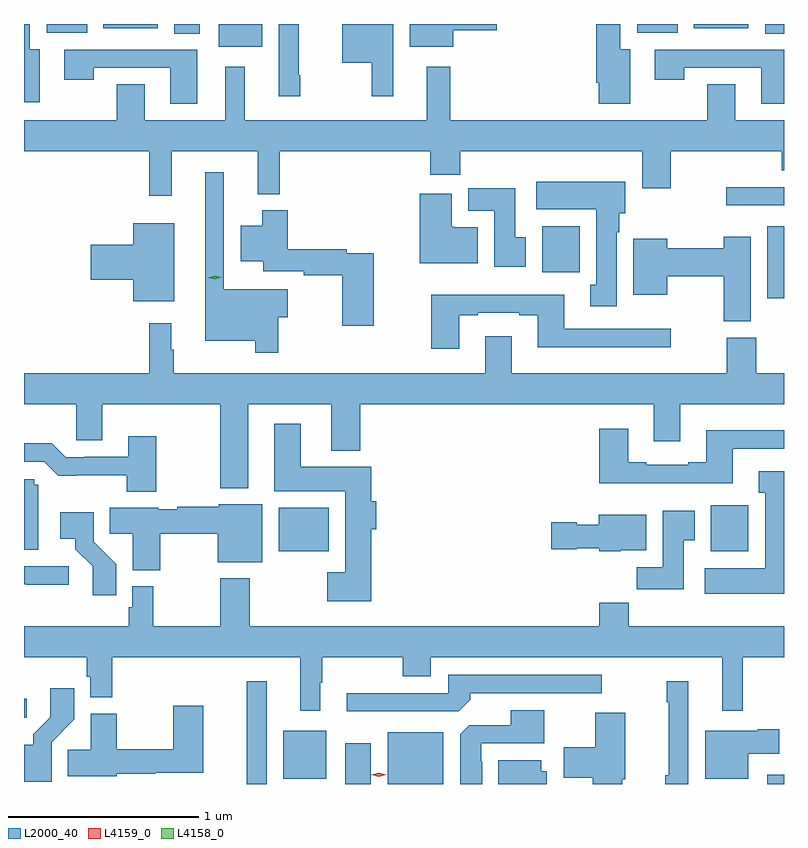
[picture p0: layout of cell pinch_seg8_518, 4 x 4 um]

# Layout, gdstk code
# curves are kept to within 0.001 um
import gdstk
lib = gdstk.Library(unit=1e-6, precision=1e-09)
def R(c, l, rs):  # rectangles x0, y0, x1, y1
    for r in rs: c.add(gdstk.rectangle(r[:2], r[2:], *l))
def P(c, l, *ps):  # polygons
    for p in ps: c.add(gdstk.Polygon(p, *l))
L2000_40 = (2000, 40)
L4158_0 = (4158, 0)
L4159_0 = (4159, 0)

pinch_seg8_518 = lib.new_cell('pinch_seg8_518')
R(pinch_seg8_518, L2000_40, [(125.549,1106.51,125.653,1107.052), (126.068,1106.51,126.202,1106.725), (126.29,1106.51,126.583,1106.782), (128.288,1106.51,128.376,1106.56), (125.741,1106.537,125.968,1106.791), (124.376,1106.859,124.39,1106.958), (125.717,1107.734,125.98,1107.964), (127.991,1107.734,128.188,1107.976), (128.288,1109.066,128.376,1109.446), (127.103,1109.204,127.3,1109.446), (128.073,1109.556,128.376,1109.652), (125.402,1110.389,125.629,1110.51), (125.168,1110.46,125.302,1110.51), (128.276,1110.46,128.376,1110.51), (124.496,1110.464,124.708,1110.51), (127.604,1110.464,127.816,1110.51), (124.793,1110.488,125.08,1110.51), (127.901,1110.488,128.188,1110.51)])
P(pinch_seg8_518, L2000_40, [(126.319,1110.51),(126.05,1110.51),(126.05,1110.305),(126.205,1110.305),(126.205,1110.129),(126.319,1110.129)],
  [(125.831,1110.241),(125.821,1110.241),(125.821,1110.51),(125.717,1110.51),(125.717,1110.129),(125.831,1110.129)],
  [(126.634,1110.478),(126.865,1110.478),(126.865,1110.51),(126.407,1110.51),(126.407,1110.389),(126.634,1110.389)],
  [(127.567,1110.376),(127.513,1110.376),(127.513,1110.51),(127.388,1110.51),(127.388,1110.202),(127.4,1110.202),(127.4,1110.09),(127.567,1110.09)],
  [(124.459,1110.376),(124.405,1110.376),(124.405,1110.51),(124.376,1110.51),(124.376,1110.098),(124.459,1110.098)],
  [(128.376,1110.375),(127.695,1110.375),(127.695,1110.216),(127.851,1110.216),(127.851,1110.279),(128.255,1110.279),(128.255,1110.09),(128.376,1110.09)],
  [(125.287,1110.375),(124.587,1110.375),(124.587,1110.216),(124.743,1110.216),(124.743,1110.279),(125.147,1110.279),(125.147,1110.09),(125.287,1110.09)],
  [(125.153,1109.84),(125.606,1109.84),(125.606,1109.615),(125.723,1109.615),(125.723,1109.84),(126.515,1109.84),(126.515,1109.716),(126.671,1109.716),(126.671,1109.84),(127.631,1109.84),(127.631,1109.646),(127.779,1109.646),(127.779,1109.84),(128.363,1109.84),(128.363,1109.741),(128.376,1109.741),(128.376,1110.004),(128.119,1110.004),(128.119,1110.194),(127.972,1110.194),(127.972,1110.004),(126.619,1110.004),(126.619,1110.286),(126.497,1110.286),(126.497,1110.004),(125.539,1110.004),(125.539,1110.286),(125.435,1110.286),(125.435,1110.004),(125.011,1110.004),(125.011,1110.194),(124.864,1110.194),(124.864,1110.004),(124.376,1110.004),(124.376,1109.84),(125.035,1109.84),(125.035,1109.607),(125.153,1109.607)],
  [(125.713,1108.966),(125.764,1108.966),(125.764,1109.113),(125.427,1109.113),(125.427,1109.731),(125.33,1109.731),(125.33,1108.844),(125.592,1108.844),(125.592,1108.779),(125.713,1108.779)],
  [(127.495,1109.414),(127.51,1109.414),(127.51,1109.514),(127.54,1109.514),(127.54,1109.68),(127.071,1109.68),(127.071,1109.534),(127.388,1109.534),(127.388,1109.138),(127.355,1109.138),(127.355,1109.025),(127.495,1109.025)],
  [(127.018,1109.388),(126.961,1109.388),(126.961,1109.646),(126.713,1109.646),(126.713,1109.528),(126.851,1109.528),(126.851,1109.232),(127.018,1109.232)],
  [(126.763,1109.44),(126.634,1109.44),(126.634,1109.446),(126.628,1109.446),(126.628,1109.617),(126.458,1109.617),(126.458,1109.252),(126.763,1109.252)],
  [(126.216,1109.304),(126.074,1109.304),(126.074,1109.324),(125.765,1109.324),(125.765,1109.53),(125.63,1109.53),(125.63,1109.449),(125.516,1109.449),(125.516,1109.261),(125.636,1109.261),(125.636,1109.208),(125.848,1109.208),(125.848,1109.188),(126.05,1109.188),(126.05,1108.923),(126.216,1108.923)],
  [(125.167,1109.461),(124.952,1109.461),(124.952,1109.348),(124.728,1109.348),(124.728,1109.165),(124.952,1109.165),(124.952,1109.051),(125.167,1109.051)],
  [(128.2,1109.389),(128.059,1109.389),(128.059,1109.33),(127.762,1109.33),(127.762,1109.38),(127.583,1109.38),(127.583,1109.084),(127.762,1109.084),(127.762,1109.183),(128.059,1109.183),(128.059,1108.945),(128.2,1108.945)],
  [(126.667,1108.977),(126.763,1108.977),(126.763,1108.989),(126.983,1108.989),(126.983,1108.977),(127.079,1108.977),(127.079,1108.808),(127.78,1108.808),(127.78,1108.905),(127.219,1108.905),(127.219,1109.086),(126.52,1109.086),(126.52,1108.8),(126.667,1108.8)],
  [(125.557,1108.508),(125.993,1108.508),(125.993,1108.265),(126.146,1108.265),(126.146,1108.508),(127.691,1108.508),(127.691,1108.314),(127.831,1108.314),(127.831,1108.508),(128.376,1108.508),(128.376,1108.672),(128.229,1108.672),(128.229,1108.86),(128.074,1108.86),(128.074,1108.672),(126.943,1108.672),(126.943,1108.867),(126.803,1108.867),(126.803,1108.672),(125.164,1108.672),(125.164,1108.796),(125.152,1108.796),(125.152,1108.936),(125.035,1108.936),(125.035,1108.672),(124.376,1108.672),(124.376,1108.508),(124.65,1108.508),(124.65,1108.318),(124.789,1108.318),(124.789,1108.508),(125.41,1108.508),(125.41,1108.067),(125.557,1108.067)],
  [(126.203,1107.851),(126.229,1107.851),(126.229,1107.998),(126.203,1107.998),(126.203,1108.18),(125.833,1108.18),(125.833,1108.405),(125.693,1108.405),(125.693,1108.052),(126.068,1108.052),(126.068,1107.625),(125.973,1107.625),(125.973,1107.473),(126.203,1107.473)],
  [(128.107,1108.275),(128.376,1108.275),(128.376,1108.372),(127.967,1108.372),(127.967,1108.204),(127.871,1108.204),(127.871,1108.191),(127.651,1108.191),(127.651,1108.204),(127.555,1108.204),(127.555,1108.381),(127.403,1108.381),(127.403,1108.094),(128.107,1108.094)],
  [(125.073,1108.339),(124.925,1108.339),(124.925,1108.233),(124.696,1108.233),(124.696,1108.23),(124.596,1108.23),(124.523,1108.303),(124.376,1108.303),(124.376,1108.206),(124.482,1108.206),(124.555,1108.133),(124.918,1108.134),(124.918,1108.049),(125.073,1108.049)],
  [(128.376,1108.156),(128.243,1108.156),(128.243,1108.043),(128.276,1108.043),(128.276,1107.646),(127.959,1107.646),(127.959,1107.512),(128.376,1107.512)],
  [(124.45,1108.086),(124.431,1108.086),(124.431,1108.113),(124.376,1108.113),(124.376,1107.742),(124.45,1107.742)],
  [(125.094,1107.826),(125.396,1107.826),(125.396,1107.677),(125.629,1107.677),(125.629,1107.982),(125.4,1107.982),(125.4,1107.968),(125.182,1107.968),(125.182,1107.955),(125.082,1107.955),(125.082,1107.964),(124.828,1107.964),(124.828,1107.826),(124.949,1107.826),(124.949,1107.635),(125.094,1107.635)],
  [(127.849,1107.793),(127.906,1107.793),(127.906,1107.949),(127.739,1107.949),(127.739,1107.652),(127.6,1107.652),(127.6,1107.534),(127.849,1107.534)],
  [(124.862,1107.666),(124.743,1107.785),(124.743,1107.94),(124.566,1107.94),(124.566,1107.8),(124.646,1107.8),(124.646,1107.745),(124.737,1107.655),(124.737,1107.504),(124.862,1107.504)],
  [(127.518,1107.74),(127.651,1107.74),(127.651,1107.928),(127.4,1107.928),(127.4,1107.874),(127.284,1107.874),(127.284,1107.887),(127.152,1107.887),(127.152,1107.745),(127.284,1107.745),(127.284,1107.752),(127.404,1107.752),(127.404,1107.734),(127.518,1107.734)],
  [(124.612,1107.657),(124.376,1107.657),(124.376,1107.561),(124.387,1107.561),(124.387,1107.559),(124.612,1107.559)],
  [(125.935,1107.044),(125.945,1107.044),(125.945,1107.176),(126.37,1107.176),(126.37,1107.077),(126.517,1107.077),(126.517,1107.176),(128.051,1107.176),(128.051,1106.895),(128.158,1106.895),(128.158,1107.176),(128.376,1107.176),(128.376,1107.34),(127.559,1107.34),(127.559,1107.464),(127.403,1107.464),(127.403,1107.34),(125.565,1107.34),(125.565,1107.592),(125.41,1107.592),(125.41,1107.34),(125.056,1107.34),(125.056,1107.55),(124.947,1107.55),(124.947,1107.441),(124.927,1107.441),(124.927,1107.34),(124.376,1107.34),(124.376,1107.176),(124.705,1107.176),(124.705,1107.075),(124.725,1107.075),(124.725,1106.966),(124.841,1106.966),(124.841,1107.176),(125.831,1107.176),(125.831,1106.895),(125.935,1106.895)],
  [(126.725,1106.954),(126.725,1106.988),(127.417,1106.988),(127.417,1107.084),(126.609,1107.084),(126.609,1106.988),(126.075,1106.988),(126.075,1106.892),(126.663,1106.892)],
  [(127.873,1107.052),(127.759,1107.052),(127.759,1106.939),(127.769,1106.939),(127.769,1106.556),(127.751,1106.556),(127.751,1106.51),(127.873,1106.51)],
  [(124.521,1106.731),(124.64,1106.85),(124.64,1107.013),(124.515,1107.013),(124.515,1106.861),(124.424,1106.771),(124.424,1106.716),(124.376,1106.716),(124.376,1106.523),(124.521,1106.523)],
  [(124.864,1106.563),(125.066,1106.563),(125.066,1106.57),(125.32,1106.57),(125.32,1106.923),(125.162,1106.923),(125.162,1106.692),(124.864,1106.692),(124.864,1106.881),(124.727,1106.881),(124.727,1106.69),(124.606,1106.69),(124.606,1106.552),(124.864,1106.552)],
  [(126.787,1106.627),(126.783,1106.627),(126.783,1106.724),(127.114,1106.724),(127.114,1106.899),(126.938,1106.899),(126.938,1106.82),(126.72,1106.82),(126.671,1106.771),(126.671,1106.51),(126.787,1106.51)],
  [(127.525,1106.535),(127.54,1106.535),(127.54,1106.884),(127.382,1106.884),(127.382,1106.704),(127.218,1106.704),(127.218,1106.542),(127.37,1106.542),(127.37,1106.51),(127.525,1106.51)],
  [(128.188,1106.669),(128.35,1106.669),(128.35,1106.799),(128.237,1106.799),(128.237,1106.791),(127.961,1106.791),(127.961,1106.537),(128.188,1106.537)],
  [(127.126,1106.577),(127.099,1106.577),(127.099,1106.635),(126.872,1106.635),(126.872,1106.51),(127.126,1106.51)])
P(pinch_seg8_518, L4158_0, [(125.381,1109.166),(125.345,1109.175),(125.345,1109.175),(125.345,1109.175),(125.381,1109.186),(125.416,1109.178),(125.417,1109.178),(125.416,1109.178)])
P(pinch_seg8_518, L4159_0, [(126.243,1106.549),(126.204,1106.559),(126.203,1106.559),(126.204,1106.559),(126.243,1106.569),(126.283,1106.559),(126.283,1106.559),(126.283,1106.559)])

lib.write_gds('pinch_seg8_518.gds')
